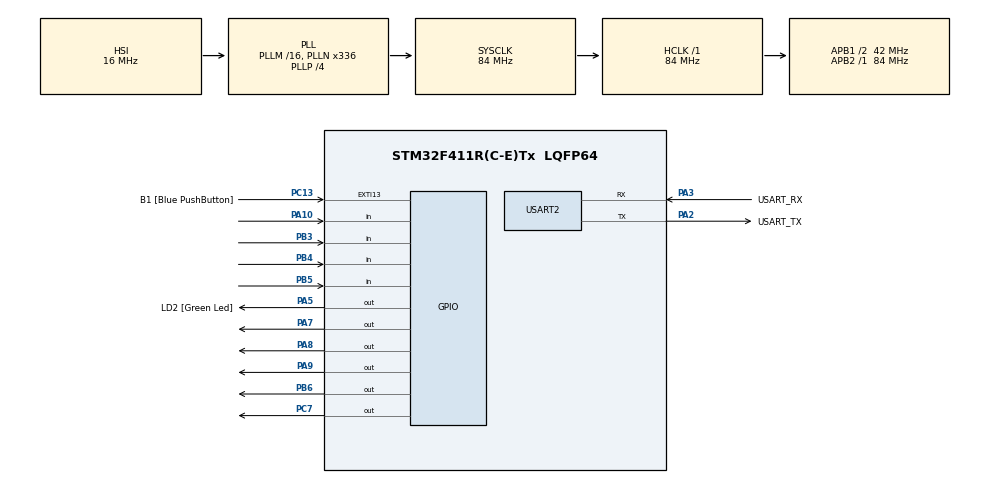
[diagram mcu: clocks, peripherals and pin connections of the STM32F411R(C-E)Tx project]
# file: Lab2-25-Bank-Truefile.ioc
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Mcu.Family=STM32F4
Mcu.Name=STM32F411R(C-E)Tx
Mcu.Package=LQFP64
NVIC.PriorityGroup=NVIC_PRIORITYGROUP_0
PA10.GPIO_PuPd=GPIO_PULLUP
PA10.Signal=GPIO_Input
PA13.GPIO_Label=TMS
PA13.Mode=Serial_Wire
PA13.Signal=SYS_JTMS-SWDIO
PA14.GPIO_Label=TCK
PA14.Mode=Serial_Wire
PA14.Signal=SYS_JTCK-SWCLK
PA2.GPIO_Label=USART_TX
PA2.Mode=Asynchronous
PA2.Signal=USART2_TX
PA3.GPIO_Label=USART_RX
PA3.Mode=Asynchronous
PA3.Signal=USART2_RX
PA5.GPIO_Label=LD2 [Green Led]
PA5.Signal=GPIO_Output
PA7.GPIO_ModeDefaultOutputPP=GPIO_MODE_OUTPUT_OD
PA7.PinState=GPIO_PIN_SET
PA7.Signal=GPIO_Output
PA8.Signal=GPIO_Output
PA9.GPIO_ModeDefaultOutputPP=GPIO_MODE_OUTPUT_OD
PA9.PinState=GPIO_PIN_SET
PA9.Signal=GPIO_Output
PB3.GPIO_PuPd=GPIO_PULLUP
PB3.Signal=GPIO_Input
PB4.GPIO_PuPd=GPIO_PULLUP
PB4.Signal=GPIO_Input
PB5.GPIO_PuPd=GPIO_PULLUP
PB5.Signal=GPIO_Input
PB6.GPIO_ModeDefaultOutputPP=GPIO_MODE_OUTPUT_OD
PB6.PinState=GPIO_PIN_SET
PB6.Signal=GPIO_Output
PC13-ANTI_TAMP.GPIO_Label=B1 [Blue PushButton]
PC13-ANTI_TAMP.GPIO_ModeDefaultEXTI=GPIO_MODE_IT_FALLING
PC13-ANTI_TAMP.Signal=GPXTI13
PC14-OSC32_IN.Mode=LSE-External-Oscillator
PC14-OSC32_IN.Signal=RCC_OSC32_IN
PC15-OSC32_OUT.Mode=LSE-External-Oscillator
PC15-OSC32_OUT.Signal=RCC_OSC32_OUT
PC7.GPIO_ModeDefaultOutputPP=GPIO_MODE_OUTPUT_OD
PC7.PinState=GPIO_PIN_SET
PC7.Signal=GPIO_Output
PH0\ -\ OSC_IN.Mode=HSE-External-Clock-Source
PH0\ -\ OSC_IN.Signal=RCC_OSC_IN
PH1\ -\ OSC_OUT.Mode=HSE-External-Clock-Source
PH1\ -\ OSC_OUT.Signal=RCC_OSC_OUT
ProjectManager.HeapSize=0x200
ProjectManager.StackSize=0x400
ProjectManager.TargetToolchain=STM32CubeIDE
RCC.48MHZClocksFreq_Value=84000000
RCC.AHBFreq_Value=84000000
RCC.APB1CLKDivider=RCC_HCLK_DIV2
RCC.APB1Freq_Value=42000000
RCC.APB1TimFreq_Value=84000000
RCC.APB2Freq_Value=84000000
RCC.APB2TimFreq_Value=84000000
RCC.CortexFreq_Value=84000000
RCC.FLatency-AdvancedSettings=FLASH_LATENCY_2
RCC.HCLKFreq_Value=84000000
RCC.HSE_VALUE=8000000
RCC.HSI_VALUE=16000000
RCC.PLLN=336
RCC.PLLP=RCC_PLLP_DIV4
RCC.SYSCLKFreq_VALUE=84000000
RCC.SYSCLKSource=RCC_SYSCLKSOURCE_PLLCLK
RCC.VCOOutputFreq_Value=336000000
USART2.VirtualMode=VM_ASYNC
board=NUCLEO-F411RE

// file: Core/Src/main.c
/* USER CODE BEGIN Header */
/**
  ******************************************************************************
  * @file           : main.c
  * @brief          : Main program body
  ******************************************************************************
  * @attention
  *
  * <h2><center>&copy; Copyright (c) 2021 STMicroelectronics.
  * All rights reserved.</center></h2>
  *
  * This software component is licensed by ST under BSD 3-Clause license,
  * the "License"; You may not use this file except in compliance with the
  * License. You may obtain a copy of the License at:
  *                        opensource.org/licenses/BSD-3-Clause
  *
  ******************************************************************************
  */
/* USER CODE END Header */
#include "main.h"

UART_HandleTypeDef huart2;

/* USER CODE BEGIN PV */
//save status of Button Matrix
uint16_t ButtonMatrixState = 0;    //biggest ใหญ่ๆเอาไว้บนจะดี

//Button TimeStamp
uint32_t ButtonMatrixTimestamp = 0;

enum statedisplay
{
	state1next6 = 0,
	state2next2,
	state3next3,
	state4next4,
	state5next0,
	state6next5,
	state7next0,
	state8next0,
	state9next0,
	state10next2,
	state11next5,
	stateONLED,
	statewrong,
};
/* USER CODE END PV */

void SystemClock_Config(void);
static void MX_GPIO_Init(void);
static void MX_USART2_UART_Init(void);
/* USER CODE BEGIN PFP */
//scan and update data of Button Matrix
void ButtonMatrixUpdate();
/* USER CODE END PFP */

int main(void)
{

  /* MCU Configuration--------------------------------------------------------*/

  /* Reset of all peripherals, Initializes the Flash interface and the Systick. */
  HAL_Init();

  /* Configure the system clock */
  SystemClock_Config();

  /* Initialize all configured peripherals */
  MX_GPIO_Init();
  MX_USART2_UART_Init();
  /* USER CODE BEGIN 2 */
  uint16_t allaybutton[2];
  uint8_t statedisplay = state1next6;
  uint32_t count = 0;
  /* USER CODE END 2 */

  /* Infinite loop */
  while (1)
  {

    /* USER CODE BEGIN 3 */
	  ButtonMatrixUpdate();
	  allaybutton[0] = ButtonMatrixState;
	  if(count == 0)
	  {
		  HAL_GPIO_WritePin(GPIOA, GPIO_PIN_8, GPIO_PIN_SET);
		  count = 1;
	  }

	  if(allaybutton[0] != 0 && allaybutton[1] == 0)
	  {

		  switch(statedisplay)
		  {
		  	  case state1next6:
		  		  switch(ButtonMatrixState)
				  {
				  	  case 64:     //press 6
				  		  statedisplay = state2next2;
						  break;
					  case 8:      //press clear
						  HAL_GPIO_WritePin(GPIOA, GPIO_PIN_8, GPIO_PIN_SET);
						  statedisplay = state1next6;
						  break;
					  case 32768:   //press okay
						  break;
					  default:     //กดมั่ว
						  statedisplay = statewrong;
						  break;
				  }
				  break;

		      case state2next2:
				  switch(ButtonMatrixState)
				  {
				  	  case 512:       //press 2
				  		  statedisplay = state3next3;
						  break;
				      case 8:        //press clear
				    	  HAL_GPIO_WritePin(GPIOA, GPIO_PIN_8, GPIO_PIN_SET);
				    	  statedisplay = state1next6;
						  break;
					  case 32768:    //press okay
						  break;
					  default:       //กดมั่ว
						  statedisplay = statewrong;
						  break;
				  }
				  break;

			  case state3next3:
				  switch(ButtonMatrixState)
				  {
				  	  case 1024:      //press 3
				  		  statedisplay = state4next4;
						  break;
					  case 8:       //press clear
						  HAL_GPIO_WritePin(GPIOA, GPIO_PIN_8, GPIO_PIN_SET);
						  statedisplay = state1next6;
						  break;
					  case 32768:      //press okay
						  break;
					  default:        //กดมั่ว
						  statedisplay = statewrong;
						  break;
				   }
				   break;

			  case state4next4:
				  switch(ButtonMatrixState)
				  {
				  	  case 16:        //press 4
				  		  statedisplay = state5next0;
						  break;
					  case 8:          //press clear
						  HAL_GPIO_WritePin(GPIOA, GPIO_PIN_8, GPIO_PIN_SET);
						  statedisplay = state1next6;
						  break;
					  case 32768:    //press okay
						  break;
					  default:           //กดมั่ว
						  statedisplay = statewrong;
						  break;
					}
				    break;

	          case state5next0:
	        	  switch(ButtonMatrixState)
				  {
				  	  case 4096:         //press 0
				  		  statedisplay = state6next5;
						  break;
					  case 8:                         //press clear
						  HAL_GPIO_WritePin(GPIOA, GPIO_PIN_8, GPIO_PIN_SET);
						  statedisplay = state1next6;
						  break;
					  case 32768:       //press okay
						  break;
					  default:     //กดมั่ว
						  statedisplay = statewrong;
						  break;
				  }
				  break;

			  case state6next5:
				  switch(ButtonMatrixState)
				  {
				  	  case 32:            //press 5
				  		  statedisplay = state7next0;
						  break;
					  case 8:             //press  clear
						  HAL_GPIO_WritePin(GPIOA, GPIO_PIN_8, GPIO_PIN_SET);
						  statedisplay = state1next6;
						  break;
					  case 32768:      //press okay
						  break;
					  default:           //กดมั่ว
						  statedisplay = statewrong;
						  break;
				  }
			      break;

			  case state7next0:
				  switch(ButtonMatrixState)
				  {
				  	  case 4096:            //press 0
				  		  statedisplay = state8next0;
					      break;
					  case 8:                  //press clear
						  HAL_GPIO_WritePin(GPIOA, GPIO_PIN_8, GPIO_PIN_SET);
						  statedisplay = state1next6;
						  break;
					  case 32768:              //press okay
						  break;
					  default:              //กดมั่ว
						  statedisplay = statewrong;
						  break;
				  }
				  break;

			  case state8next0:
				  switch(ButtonMatrixState)
				  {
				  	  case 4096:           //press 0
				  		  statedisplay = state9next0;
						  break;
					  case 8:       //press clear
						  HAL_GPIO_WritePin(GPIOA, GPIO_PIN_8, GPIO_PIN_SET);
						  statedisplay = state1next6;
						  break;
					  case 32768:    //press okay
					      break;
					  default:     //กดมั่ว
						  statedisplay = statewrong;
						  break;
				  }
				  break;

			  case state9next0:
				  switch(ButtonMatrixState)
				  {
				  	  case 4096:         //press 0
				  		  statedisplay = state10next2;
						  break;
				      case 8:                 //press clear
				    	  HAL_GPIO_WritePin(GPIOA, GPIO_PIN_8, GPIO_PIN_SET);
				    	  statedisplay = state1next6;
						  break;
					  case 32768:      //press okay
						  break;
					  default:      //กดมั่ว
						  statedisplay = statewrong;
						  break;
			      }
				  break;

		      case state10next2:
		    	  switch(ButtonMatrixState)
				  {
				  	  case 512:             //press 2
				  		  statedisplay = state11next5;
						  break;
					  case 8:             //press clear
						  HAL_GPIO_WritePin(GPIOA, GPIO_PIN_8, GPIO_PIN_SET);
						  statedisplay = state1next6;
						  break;
					  case 32768:               //press okay
						  break;
					  default:           //กดมั่ว
						  statedisplay = statewrong;
						  break;
				  }
                  break;

			  case state11next5:
				  switch(ButtonMatrixState)
				  {
				  	  case 32:                 //press 5
				  		  statedisplay = stateONLED;
						  break;
				      case 8:            //press clear
				    	  HAL_GPIO_WritePin(GPIOA, GPIO_PIN_8, GPIO_PIN_SET);
				    	  statedisplay = state1next6;
						  break;
					  case 32768:          //press okay
						  break;
					  default:                 //กดมั่ว
						  statedisplay = statewrong;
						  break;
				  }
				  break;

			  case stateONLED:
				  switch(ButtonMatrixState)
				  {
				  	  case 8:           //press clear
				  		  HAL_GPIO_WritePin(GPIOA, GPIO_PIN_8, GPIO_PIN_SET);
						  statedisplay = state1next6;
						  break;
				      case 32768:            //press okay and ONLED
						  HAL_GPIO_WritePin(GPIOA, GPIO_PIN_8, GPIO_PIN_RESET);
						  break;
					  default:      //กดมั่ว
						  statedisplay = statewrong;
					      break;
			      }
			      break;

		      case statewrong:
		    	  switch(ButtonMatrixState)
				  {
				  	  case 8:       //press clear
				  		  HAL_GPIO_WritePin(GPIOA, GPIO_PIN_8, GPIO_PIN_SET);
				  		  statedisplay = state1next6;
						  break;
					  case 32768:       //press okay
					      break;
					  default:       //กดมั่ว
						  statedisplay = statewrong;
						  break;
			      }
				  break;

		  }
	  }
	  allaybutton[1] = allaybutton[0];
  }
  /* USER CODE END 3 */
}

void SystemClock_Config(void)
{
  RCC_OscInitTypeDef RCC_OscInitStruct = {0};
  RCC_ClkInitTypeDef RCC_ClkInitStruct = {0};

  /** Configure the main internal regulator output voltage
  */
  __HAL_RCC_PWR_CLK_ENABLE();
  __HAL_PWR_VOLTAGESCALING_CONFIG(PWR_REGULATOR_VOLTAGE_SCALE1);
  /** Initializes the RCC Oscillators according to the specified parameters
  * in the RCC_OscInitTypeDef structure.
  */
  RCC_OscInitStruct.OscillatorType = RCC_OSCILLATORTYPE_HSI;
  RCC_OscInitStruct.HSIState = RCC_HSI_ON;
  RCC_OscInitStruct.HSICalibrationValue = RCC_HSICALIBRATION_DEFAULT;
  RCC_OscInitStruct.PLL.PLLState = RCC_PLL_ON;
  RCC_OscInitStruct.PLL.PLLSource = RCC_PLLSOURCE_HSI;
  RCC_OscInitStruct.PLL.PLLM = 16;
  RCC_OscInitStruct.PLL.PLLN = 336;
  RCC_OscInitStruct.PLL.PLLP = RCC_PLLP_DIV4;
  RCC_OscInitStruct.PLL.PLLQ = 4;
  if (HAL_RCC_OscConfig(&RCC_OscInitStruct) != HAL_OK)
  {
    Error_Handler();
  }
  /** Initializes the CPU, AHB and APB buses clocks
  */
  RCC_ClkInitStruct.ClockType = RCC_CLOCKTYPE_HCLK|RCC_CLOCKTYPE_SYSCLK
                              |RCC_CLOCKTYPE_PCLK1|RCC_CLOCKTYPE_PCLK2;
  RCC_ClkInitStruct.SYSCLKSource = RCC_SYSCLKSOURCE_PLLCLK;
  RCC_ClkInitStruct.AHBCLKDivider = RCC_SYSCLK_DIV1;
  RCC_ClkInitStruct.APB1CLKDivider = RCC_HCLK_DIV2;
  RCC_ClkInitStruct.APB2CLKDivider = RCC_HCLK_DIV1;

  if (HAL_RCC_ClockConfig(&RCC_ClkInitStruct, FLASH_LATENCY_2) != HAL_OK)
  {
    Error_Handler();
  }
}

static void MX_USART2_UART_Init(void)
{

  huart2.Instance = USART2;
  huart2.Init.BaudRate = 115200;
  huart2.Init.WordLength = UART_WORDLENGTH_8B;
  huart2.Init.StopBits = UART_STOPBITS_1;
  huart2.Init.Parity = UART_PARITY_NONE;
  huart2.Init.Mode = UART_MODE_TX_RX;
  huart2.Init.HwFlowCtl = UART_HWCONTROL_NONE;
  huart2.Init.OverSampling = UART_OVERSAMPLING_16;
  if (HAL_UART_Init(&huart2) != HAL_OK)
  {
    Error_Handler();
  }

}

static void MX_GPIO_Init(void)
{
  GPIO_InitTypeDef GPIO_InitStruct = {0};

  /* GPIO Ports Clock Enable */
  __HAL_RCC_GPIOC_CLK_ENABLE();
  __HAL_RCC_GPIOH_CLK_ENABLE();
  __HAL_RCC_GPIOA_CLK_ENABLE();
  __HAL_RCC_GPIOB_CLK_ENABLE();

  /*Configure GPIO pin Output Level */
  HAL_GPIO_WritePin(GPIOA, LD2_Pin|GPIO_PIN_8, GPIO_PIN_RESET);

  /*Configure GPIO pin Output Level */
  HAL_GPIO_WritePin(GPIOA, GPIO_PIN_7|GPIO_PIN_9, GPIO_PIN_SET);

  /*Configure GPIO pin Output Level */
  HAL_GPIO_WritePin(GPIOC, GPIO_PIN_7, GPIO_PIN_SET);

  /*Configure GPIO pin Output Level */
  HAL_GPIO_WritePin(GPIOB, GPIO_PIN_6, GPIO_PIN_SET);

  /*Configure GPIO pin : B1_Pin */
  GPIO_InitStruct.Pin = B1_Pin;
  GPIO_InitStruct.Mode = GPIO_MODE_IT_FALLING;
  GPIO_InitStruct.Pull = GPIO_NOPULL;
  HAL_GPIO_Init(B1_GPIO_Port, &GPIO_InitStruct);

  /*Configure GPIO pins : LD2_Pin PA8 */
  GPIO_InitStruct.Pin = LD2_Pin|GPIO_PIN_8;
  GPIO_InitStruct.Mode = GPIO_MODE_OUTPUT_PP;
  GPIO_InitStruct.Pull = GPIO_NOPULL;
  GPIO_InitStruct.Speed = GPIO_SPEED_FREQ_LOW;
  HAL_GPIO_Init(GPIOA, &GPIO_InitStruct);

  /*Configure GPIO pins : PA7 PA9 */
  GPIO_InitStruct.Pin = GPIO_PIN_7|GPIO_PIN_9;
  GPIO_InitStruct.Mode = GPIO_MODE_OUTPUT_OD;
  GPIO_InitStruct.Pull = GPIO_NOPULL;
  GPIO_InitStruct.Speed = GPIO_SPEED_FREQ_LOW;
  HAL_GPIO_Init(GPIOA, &GPIO_InitStruct);

  /*Configure GPIO pin : PC7 */
  GPIO_InitStruct.Pin = GPIO_PIN_7;
  GPIO_InitStruct.Mode = GPIO_MODE_OUTPUT_OD;
  GPIO_InitStruct.Pull = GPIO_NOPULL;
  GPIO_InitStruct.Speed = GPIO_SPEED_FREQ_LOW;
  HAL_GPIO_Init(GPIOC, &GPIO_InitStruct);

  /*Configure GPIO pin : PA10 */
  GPIO_InitStruct.Pin = GPIO_PIN_10;
  GPIO_InitStruct.Mode = GPIO_MODE_INPUT;
  GPIO_InitStruct.Pull = GPIO_PULLUP;
  HAL_GPIO_Init(GPIOA, &GPIO_InitStruct);

  /*Configure GPIO pins : PB3 PB4 PB5 */
  GPIO_InitStruct.Pin = GPIO_PIN_3|GPIO_PIN_4|GPIO_PIN_5;
  GPIO_InitStruct.Mode = GPIO_MODE_INPUT;
  GPIO_InitStruct.Pull = GPIO_PULLUP;
  HAL_GPIO_Init(GPIOB, &GPIO_InitStruct);

  /*Configure GPIO pin : PB6 */
  GPIO_InitStruct.Pin = GPIO_PIN_6;
  GPIO_InitStruct.Mode = GPIO_MODE_OUTPUT_OD;
  GPIO_InitStruct.Pull = GPIO_NOPULL;
  GPIO_InitStruct.Speed = GPIO_SPEED_FREQ_LOW;
  HAL_GPIO_Init(GPIOB, &GPIO_InitStruct);

}

/* USER CODE BEGIN 4 */
//port/pin array , 0-3 input , 4-7 output
GPIO_TypeDef *ButtonMatrixPort[8] = {GPIOA,GPIOB,GPIOB,GPIOB,GPIOA,GPIOC,GPIOB,GPIOA };
uint16_t ButtonMatrixPin[8]= {GPIO_PIN_10,GPIO_PIN_3,GPIO_PIN_5,GPIO_PIN_4,GPIO_PIN_9,GPIO_PIN_7,GPIO_PIN_6,GPIO_PIN_7};

//row เหมือน line อะเเหละใช้ตัวไหน�?็ได้
uint8_t ButtonMatrixRow = 0;
void ButtonMatrixUpdate()
{
	if(HAL_GetTick() - ButtonMatrixTimestamp >= 20)
	{
		ButtonMatrixTimestamp = HAL_GetTick();
		int i;
		for(i = 0;i<4; i+=1 )
		{ //0-3
			GPIO_PinState PinState = HAL_GPIO_ReadPin(ButtonMatrixPort[i], ButtonMatrixPin[i]);
			if(PinState == GPIO_PIN_RESET) //Button Press
			{
				ButtonMatrixState = (uint16_t)1 <<(i+ButtonMatrixRow * 4);   //0b00000000000000000 | 0b1000
			}
			else
			{
				ButtonMatrixState &= ~((uint16_t)1 <<(i+ButtonMatrixRow * 4));    //0b00000000000000000 & ~(0b1000)
			}
		}
		uint8_t NowOutputPin = ButtonMatrixRow + 4;
		//SET Rn
		HAL_GPIO_WritePin(ButtonMatrixPort[NowOutputPin] , ButtonMatrixPin[NowOutputPin], GPIO_PIN_SET);
		// update New Row
		ButtonMatrixRow = (ButtonMatrixRow + 1)%4;

		uint8_t NextOutputPin = ButtonMatrixRow + 4;
		//Reset Rn+1
		HAL_GPIO_WritePin(ButtonMatrixPort[NextOutputPin],ButtonMatrixPin[NextOutputPin], GPIO_PIN_RESET);
	}
}
/* USER CODE END 4 */

void Error_Handler(void)
{
  __disable_irq();
  while (1)
  {
  }
}

/************************ (C) COPYRIGHT STMicroelectronics *****END OF FILE****/
